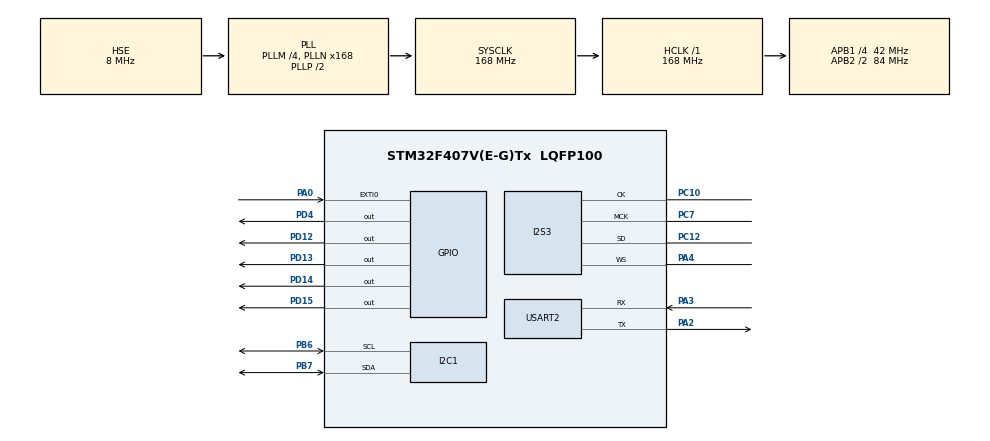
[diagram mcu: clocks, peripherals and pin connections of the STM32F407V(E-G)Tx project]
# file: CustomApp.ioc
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Dma.Request0=USART2_TX
Dma.Request1=USART2_RX
Dma.USART2_RX.1.Direction=DMA_PERIPH_TO_MEMORY
Dma.USART2_RX.1.FIFOMode=DMA_FIFOMODE_DISABLE
Dma.USART2_RX.1.Instance=DMA1_Stream5
Dma.USART2_RX.1.MemDataAlignment=DMA_MDATAALIGN_BYTE
Dma.USART2_RX.1.MemInc=DMA_MINC_ENABLE
Dma.USART2_RX.1.Mode=DMA_NORMAL
Dma.USART2_RX.1.PeriphDataAlignment=DMA_PDATAALIGN_BYTE
Dma.USART2_RX.1.PeriphInc=DMA_PINC_DISABLE
Dma.USART2_RX.1.Priority=DMA_PRIORITY_LOW
Dma.USART2_TX.0.Direction=DMA_MEMORY_TO_PERIPH
Dma.USART2_TX.0.FIFOMode=DMA_FIFOMODE_DISABLE
Dma.USART2_TX.0.Instance=DMA1_Stream6
Dma.USART2_TX.0.MemDataAlignment=DMA_MDATAALIGN_BYTE
Dma.USART2_TX.0.MemInc=DMA_MINC_ENABLE
Dma.USART2_TX.0.Mode=DMA_NORMAL
Dma.USART2_TX.0.PeriphDataAlignment=DMA_PDATAALIGN_BYTE
Dma.USART2_TX.0.PeriphInc=DMA_PINC_DISABLE
Dma.USART2_TX.0.Priority=DMA_PRIORITY_LOW
FREERTOS.HEAP_NUMBER=1
FREERTOS.Tasks01=defaultTask,0,128,StartDefaultTask,Default,NULL,Dynamic,NULL,NULL
FREERTOS.configTICK_RATE_HZ=100
I2S3.AudioFreq=I2S_AUDIOFREQ_48K
I2S3.ErrorAudioFreq=-2.34 %
I2S3.FullDuplexMode=I2S_FULLDUPLEXMODE_DISABLE
I2S3.Instance=SPI$Index
I2S3.RealAudioFreq=46.875 KHz
I2S3.VirtualMode=I2S_MODE_MASTER
Mcu.Family=STM32F4
Mcu.Name=STM32F407V(E-G)Tx
Mcu.Package=LQFP100
NVIC.DMA1_Stream5_IRQn=true\:5\:0\:false\:false\:true\:true\:false\:true\:true
NVIC.DMA1_Stream6_IRQn=true\:5\:0\:false\:false\:true\:true\:false\:true\:true
NVIC.EXTI0_IRQn=true\:5\:0\:false\:false\:true\:true\:true\:true\:true
NVIC.PriorityGroup=NVIC_PRIORITYGROUP_4
NVIC.TIM2_IRQn=true\:5\:0\:false\:false\:true\:true\:true\:true\:true
NVIC.USART2_IRQn=true\:5\:0\:false\:false\:true\:true\:true\:true\:true
PA0-WKUP.Signal=GPXTI0
PA2.Mode=Asynchronous
PA2.Signal=USART2_TX
PA3.Mode=Asynchronous
PA3.Signal=USART2_RX
PA4.Mode=Half_Duplex_Master
PA4.Signal=I2S3_WS
PB6.Mode=I2C
PB6.Signal=I2C1_SCL
PB7.Mode=I2C
PB7.Signal=I2C1_SDA
PC10.Mode=Half_Duplex_Master
PC10.Signal=I2S3_CK
PC12.Mode=Half_Duplex_Master
PC12.Signal=I2S3_SD
PC14-OSC32_IN.Mode=LSE-External-Oscillator
PC14-OSC32_IN.Signal=RCC_OSC32_IN
PC15-OSC32_OUT.Mode=LSE-External-Oscillator
PC15-OSC32_OUT.Signal=RCC_OSC32_OUT
PC7.Mode=Master_Clock_Activated
PC7.Signal=I2S3_MCK
PD12.GPIO_Speed=GPIO_SPEED_FREQ_VERY_HIGH
PD12.Signal=GPIO_Output
PD13.GPIO_Speed=GPIO_SPEED_FREQ_VERY_HIGH
PD13.Signal=GPIO_Output
PD14.GPIO_Speed=GPIO_SPEED_FREQ_VERY_HIGH
PD14.Signal=GPIO_Output
PD15.GPIO_Speed=GPIO_SPEED_FREQ_VERY_HIGH
PD15.Signal=GPIO_Output
PD4.GPIO_PuPd=GPIO_PULLDOWN
PD4.Signal=GPIO_Output
PH0-OSC_IN.Mode=HSE-External-Oscillator
PH0-OSC_IN.Signal=RCC_OSC_IN
PH1-OSC_OUT.Mode=HSE-External-Oscillator
PH1-OSC_OUT.Signal=RCC_OSC_OUT
ProjectManager.HeapSize=0x200
ProjectManager.StackSize=0x400
ProjectManager.TargetToolchain=STM32CubeIDE
RCC.48MHZClocksFreq_Value=84000000
RCC.AHBFreq_Value=168000000
RCC.APB1CLKDivider=RCC_HCLK_DIV4
RCC.APB1Freq_Value=42000000
RCC.APB1TimFreq_Value=84000000
RCC.APB2CLKDivider=RCC_HCLK_DIV2
RCC.APB2Freq_Value=84000000
RCC.APB2TimFreq_Value=168000000
RCC.CortexFreq_Value=168000000
RCC.HCLKFreq_Value=168000000
RCC.HSE_VALUE=8000000
RCC.HSI_VALUE=16000000
RCC.PLLM=4
RCC.PLLN=168
RCC.PLLSourceVirtual=RCC_PLLSOURCE_HSE
RCC.SYSCLKFreq_VALUE=168000000
RCC.SYSCLKSource=RCC_SYSCLKSOURCE_PLLCLK
RCC.VCOOutputFreq_Value=336000000
TIM2.Period=35999
TIM2.Prescaler=1
USART2.VirtualMode=VM_ASYNC
VP_FREERTOS_VS_CMSIS_V1.Mode=CMSIS_V1
VP_TIM2_VS_ClockSourceINT.Mode=Internal
board=custom

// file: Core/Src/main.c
/* USER CODE BEGIN Header */
/**
  ******************************************************************************
  * @file           : main.c
  * @brief          : Main program body
  ******************************************************************************
  * @attention
  *
  * Copyright (c) 2023 STMicroelectronics.
  * All rights reserved.
  *
  * This software is licensed under terms that can be found in the LICENSE file
  * in the root directory of this software component.
  * If no LICENSE file comes with this software, it is provided AS-IS.
  *
  ******************************************************************************
  */
/* USER CODE END Header */
#include "main.h"
#include "cmsis_os.h"
#include "dma.h"
#include "i2c.h"
#include "i2s.h"
#include "tim.h"
#include "usart.h"
#include "gpio.h"

/* USER CODE BEGIN Includes */
#include "FreeRTOS.h"
#include "task.h"
#include "queue.h"
#include "semphr.h"
#include "audio.h"
#include <stdlib.h>
#include "ctype.h"
/* USER CODE END Includes */

/* USER CODE BEGIN PV */
char RX_BUFF[BUFF_SIZE];
char TX_BUFF[MSG_BUFF];
char *newline = "\n\n";

int rx_id;
int paused = 0;
int frequency = 440;

float amplitude = 0.5;

uint8_t rx_data;
uint8_t newline_detected = 0;
uint8_t buttonPressed;
uint8_t normal_op = 0;

xTaskHandle xTaskHandle1, xTaskHandle2, xTaskHandle3, xTaskHandle4;
/* USER CODE END PV */

void SystemClock_Config(void);

int main(void)
{
  /* USER CODE BEGIN 1 */
	rx_id = 0;
  /* USER CODE END 1 */

  /* MCU Configuration--------------------------------------------------------*/

  /* Reset of all peripherals, Initializes the Flash interface and the Systick. */
  HAL_Init();

  /* Configure the system clock */
  SystemClock_Config();

  /* Initialize all configured peripherals */
  MX_GPIO_Init();
  MX_DMA_Init();
  MX_TIM2_Init();
  MX_USART2_UART_Init();
  MX_I2C1_Init();
  MX_I2S3_Init();
  /* USER CODE BEGIN 2 */
  HAL_TIM_Base_Start_IT(&htim2);
  configAudio();

  memset(TX_BUFF, '\0', MSG_BUFF);
  snprintf(TX_BUFF, MSG_BUFF, "%s\n", WELCOME_MSG);
  HAL_UART_Transmit_DMA(&huart2, (uint8_t *)TX_BUFF, strlen(TX_BUFF));
  HAL_Delay(200);

  xTaskCreate(vTask1, (const char *)"TASK_1", configMINIMAL_STACK_SIZE, NULL, 1, NULL);
  xTaskCreate(vTask2, (const char *)"TASK_2", configMINIMAL_STACK_SIZE, NULL, 1, NULL);
  xTaskCreate(vTask3, (const char *)"TASK_3", configMINIMAL_STACK_SIZE, NULL, 1, NULL);
  xTaskCreate(vTask4, (const char *)"TASK_4", configMINIMAL_STACK_SIZE, NULL, 1, NULL);
  vTaskStartScheduler();
  /* USER CODE END 2 */

  /* We should never get here as control is now taken by the scheduler */
  /* Infinite loop */
  while (1)
  {

  }
}

void SystemClock_Config(void)
{
  RCC_OscInitTypeDef RCC_OscInitStruct = {0};
  RCC_ClkInitTypeDef RCC_ClkInitStruct = {0};

  /** Configure the main internal regulator output voltage
  */
  __HAL_RCC_PWR_CLK_ENABLE();
  __HAL_PWR_VOLTAGESCALING_CONFIG(PWR_REGULATOR_VOLTAGE_SCALE1);

  /** Initializes the RCC Oscillators according to the specified parameters
  * in the RCC_OscInitTypeDef structure.
  */
  RCC_OscInitStruct.OscillatorType = RCC_OSCILLATORTYPE_HSE;
  RCC_OscInitStruct.HSEState = RCC_HSE_ON;
  RCC_OscInitStruct.PLL.PLLState = RCC_PLL_ON;
  RCC_OscInitStruct.PLL.PLLSource = RCC_PLLSOURCE_HSE;
  RCC_OscInitStruct.PLL.PLLM = 4;
  RCC_OscInitStruct.PLL.PLLN = 168;
  RCC_OscInitStruct.PLL.PLLP = RCC_PLLP_DIV2;
  RCC_OscInitStruct.PLL.PLLQ = 4;
  if (HAL_RCC_OscConfig(&RCC_OscInitStruct) != HAL_OK)
  {
    Error_Handler();
  }

  /** Initializes the CPU, AHB and APB buses clocks
  */
  RCC_ClkInitStruct.ClockType = RCC_CLOCKTYPE_HCLK|RCC_CLOCKTYPE_SYSCLK
                              |RCC_CLOCKTYPE_PCLK1|RCC_CLOCKTYPE_PCLK2;
  RCC_ClkInitStruct.SYSCLKSource = RCC_SYSCLKSOURCE_PLLCLK;
  RCC_ClkInitStruct.AHBCLKDivider = RCC_SYSCLK_DIV1;
  RCC_ClkInitStruct.APB1CLKDivider = RCC_HCLK_DIV4;
  RCC_ClkInitStruct.APB2CLKDivider = RCC_HCLK_DIV2;

  if (HAL_RCC_ClockConfig(&RCC_ClkInitStruct, FLASH_LATENCY_5) != HAL_OK)
  {
    Error_Handler();
  }
}

/* USER CODE BEGIN 4 */
void vTask1(void *pvParameters) {
	while(1) {
		heartbeat_blink(LED4_GREEN_ID);
	}
}

void vTask2(void *pvParameters) {
	while(1) {
		HAL_UART_Receive_DMA(&huart2, &rx_data, 1);
	}
}

void vTask3(void *pvParameters) {
	while(1) {
		if(!paused) {
			gpio_led_state(LED6_BLUE_ID, 1);
			vTaskDelay(100 / portTICK_PERIOD_MS);
			gpio_led_state(LED6_BLUE_ID, 0);
			vTaskDelay(100 / portTICK_PERIOD_MS);
		}
	}
}

void vTask4(void *pvParameters) {
	while(1) {
		if(buttonPressed) {
			buttonPressed = 0;
			if(paused) paused = 0;
			else paused = 1;
		}
	}
}

void HAL_GPIO_EXTI_Callback(uint16_t GPIO_Pin) {
	if(GPIO_Pin == USER_BUTTON_PIN) {
		HAL_NVIC_DisableIRQ(EXTI0_IRQn);
		buttonPressed = 1;
		HAL_NVIC_EnableIRQ(EXTI0_IRQn);
	}
	else {
		__NOP();
	}
}

void HAL_UART_RxCpltCallback(UART_HandleTypeDef *huart)
{
    // If not '\n' or '\n' echo back the received character
	if(rx_data == '\r' || rx_data == '\n') {
		if(normal_op) {
			if(RX_BUFF[0] == 'f' || RX_BUFF[0] == 'a') {
				for(int i = 1; i < strlen(RX_BUFF); i++) {
		            if (!isdigit((uint8_t)RX_BUFF[i]) && RX_BUFF[i] != '.') {
		            	HAL_UART_Transmit_DMA(&huart2, (uint8_t *)ERR_MSG, strlen(ERR_MSG));
		            }
				}

				if(RX_BUFF[0] == 'f') {
					sscanf(RX_BUFF, "f%d", &frequency);
					HAL_UART_Transmit_DMA(&huart2, (uint8_t *)OK_MSG, strlen(OK_MSG));
				} else if(RX_BUFF[0] == 'a') {
					sscanf(RX_BUFF, "a%f", &amplitude);
					HAL_UART_Transmit_DMA(&huart2, (uint8_t *)OK_MSG, strlen(OK_MSG));
				}
			} else {
				HAL_UART_Transmit_DMA(&huart2, (uint8_t *)ERR_MSG, strlen(ERR_MSG));
			}
		} else {
			if(strcmp(RX_BUFF, PASSWORD) == 0) {
				HAL_UART_Transmit_DMA(&huart2, (uint8_t *)OK_MSG, strlen(OK_MSG));
				normal_op = 1;
			} else {
				HAL_UART_Transmit_DMA(&huart2, (uint8_t *)WELCOME_MSG, strlen(WELCOME_MSG));
			}
		}

		memset(RX_BUFF, '\0', BUFF_SIZE);
		rx_id = 0;
	} else {
		HAL_UART_Transmit_DMA(&huart2, &rx_data, 1);
		RX_BUFF[rx_id] = rx_data;
		rx_id++;
	}

}
/* USER CODE END 4 */

void Error_Handler(void)
{
  __disable_irq();
  while (1)
  {
  }
}
